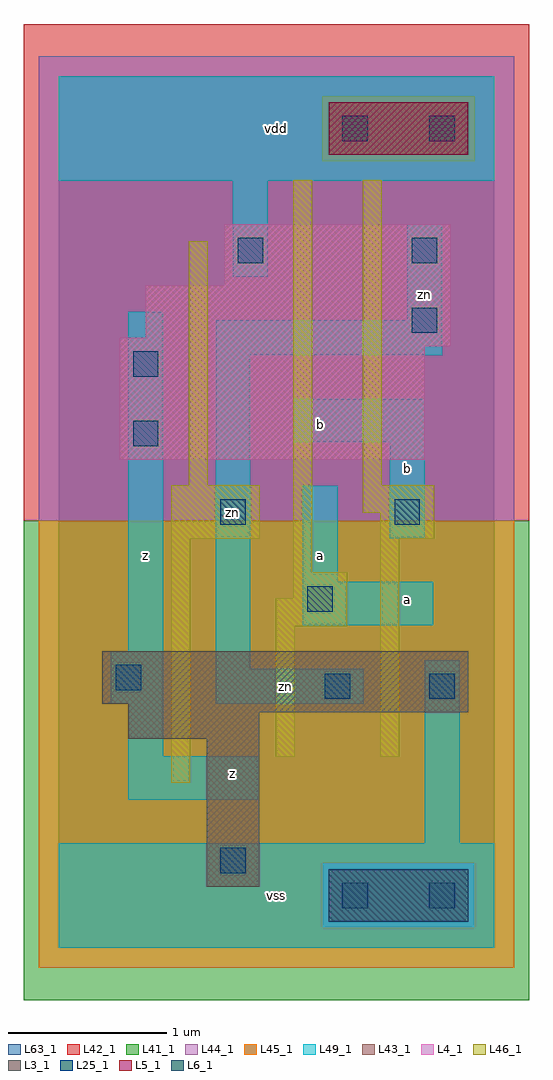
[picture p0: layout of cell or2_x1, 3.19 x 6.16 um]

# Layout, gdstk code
import gdstk
lib = gdstk.Library(unit=1e-6, precision=1e-09)
def R(c, l, rs):  # rectangles x0, y0, x1, y1
    for r in rs: c.add(gdstk.rectangle(r[:2], r[2:], *l))
L3_1 = (3, 1)
L4_1 = (4, 1)
L5_1 = (5, 1)
L6_1 = (6, 1)
L25_1 = (25, 1)
L41_1 = (41, 1)
L42_1 = (42, 1)
L43_1 = (43, 1)
L44_1 = (44, 1)
L45_1 = (45, 1)
L46_1 = (46, 1)
L49_1 = (49, 1)
L63_1 = (63, 1)

or2_x1 = lib.new_cell('or2_x1')
R(or2_x1, L3_1, [(0.935,0.385,1.265,1.32), (0.44,1.32,1.265,1.485), (0.44,1.485,2.585,1.54), (0.275,1.54,2.585,1.87)])
R(or2_x1, L4_1, [(0.385,3.08,2.31,3.795), (0.385,3.795,2.475,3.85), (0.55,3.85,2.475,4.18), (1.045,4.18,2.475,4.565)])
R(or2_x1, L5_1, [(1.705,5.005,2.585,5.335)])
R(or2_x1, L6_1, [(1.705,0.165,2.585,0.495)])
R(or2_x1, L25_1, [(1.79,0.25,1.95,0.41), (2.34,0.25,2.5,0.41), (1.02,0.47,1.18,0.63), (1.68,1.57,1.84,1.73), (2.34,1.57,2.5,1.73), (0.36,1.625,0.52,1.785), (1.57,2.12,1.73,2.28), (1.02,2.67,1.18,2.83), (2.12,2.67,2.28,2.83), (0.47,3.165,0.63,3.325), (0.47,3.605,0.63,3.765), (2.23,3.88,2.39,4.04), (1.13,4.32,1.29,4.48), (2.23,4.32,2.39,4.48), (1.79,5.09,1.95,5.25), (2.34,5.09,2.5,5.25)])
R(or2_x1, L41_1, [(-0.22,-0.33,2.97,2.695)])
R(or2_x1, L42_1, [(-0.22,2.695,2.97,5.83)])
R(or2_x1, L43_1, [(1.705,0.165,2.585,0.495), (0.935,0.385,1.265,1.32), (0.44,1.32,1.265,1.485), (0.44,1.485,2.585,1.54), (0.275,1.54,2.585,1.87), (0.385,3.08,2.31,3.795), (0.385,3.795,2.475,3.85), (0.55,3.85,2.475,4.18), (1.045,4.18,2.475,4.565), (1.705,5.005,2.585,5.335)])
R(or2_x1, L44_1, [(1.665,0.125,2.625,0.535), (-0.125,2.695,2.875,4.965), (-0.125,4.965,1.665,5.375), (2.625,4.965,2.875,5.375), (-0.125,5.375,2.875,5.625)])
R(or2_x1, L45_1, [(-0.125,-0.125,2.875,0.125), (-0.125,0.125,1.665,0.535), (2.625,0.125,2.875,0.535), (-0.125,0.535,2.875,2.695), (1.665,4.965,2.625,5.375)])
R(or2_x1, L46_1, [(0.71,1.04,0.83,2.58), (1.37,1.205,1.49,2.03), (2.03,1.205,2.15,2.58), (1.37,2.03,1.82,2.205), (1.48,2.205,1.82,2.37), (1.48,2.37,1.6,4.845), (0.71,2.58,1.27,2.92), (2.03,2.58,2.37,2.745), (1.92,2.745,2.37,2.92), (0.82,2.92,0.94,4.46), (1.92,2.92,2.04,4.845)])
R(or2_x1, L49_1, [(0,0,2.75,0.66), (2.31,0.66,2.53,1.815), (0.44,0.935,1.265,1.21), (0.44,1.21,0.66,1.54), (0.33,1.54,0.66,1.87), (0.99,1.54,1.925,1.76), (0.99,1.76,1.21,3.74), (0.44,1.87,0.66,4.015), (1.54,2.035,2.365,2.31), (1.54,2.31,1.76,2.915), (2.09,2.585,2.31,3.19), (1.485,3.19,2.31,3.465), (0.99,3.74,2.42,3.96), (2.2,3.96,2.42,4.565), (1.1,4.235,1.32,4.84), (0,4.84,2.75,5.5)])
R(or2_x1, L63_1, [(0,0,2.75,5.5)])
or2_x1.add(gdstk.Label('z', (1.1,1.1), layer=49, texttype=1))
or2_x1.add(gdstk.Label('z', (1.1,1.1), layer=49, texttype=1))
or2_x1.add(gdstk.Label('z', (0.55,2.475), layer=49, texttype=1))
or2_x1.add(gdstk.Label('z', (0.55,2.475), layer=49, texttype=1))
or2_x1.add(gdstk.Label('zn', (1.1,2.75), layer=49, texttype=1))
or2_x1.add(gdstk.Label('vss', (1.375,0.33), layer=49, texttype=1))
or2_x1.add(gdstk.Label('vss', (1.375,0.33), layer=49, texttype=1))
or2_x1.add(gdstk.Label('zn', (1.43,1.65), layer=49, texttype=1))
or2_x1.add(gdstk.Label('a', (1.65,2.475), layer=49, texttype=1))
or2_x1.add(gdstk.Label('a', (1.65,2.475), layer=49, texttype=1))
or2_x1.add(gdstk.Label('b', (1.65,3.3), layer=49, texttype=1))
or2_x1.add(gdstk.Label('b', (1.65,3.3), layer=49, texttype=1))
or2_x1.add(gdstk.Label('vdd', (1.375,5.17), layer=49, texttype=1))
or2_x1.add(gdstk.Label('vdd', (1.375,5.17), layer=49, texttype=1))
or2_x1.add(gdstk.Label('a', (2.2,2.2), layer=49, texttype=1))
or2_x1.add(gdstk.Label('a', (2.2,2.2), layer=49, texttype=1))
or2_x1.add(gdstk.Label('b', (2.2,3.025), layer=49, texttype=1))
or2_x1.add(gdstk.Label('b', (2.2,3.025), layer=49, texttype=1))
or2_x1.add(gdstk.Label('zn', (2.31,4.125), layer=49, texttype=1))

lib.write_gds('or2_x1.gds')
